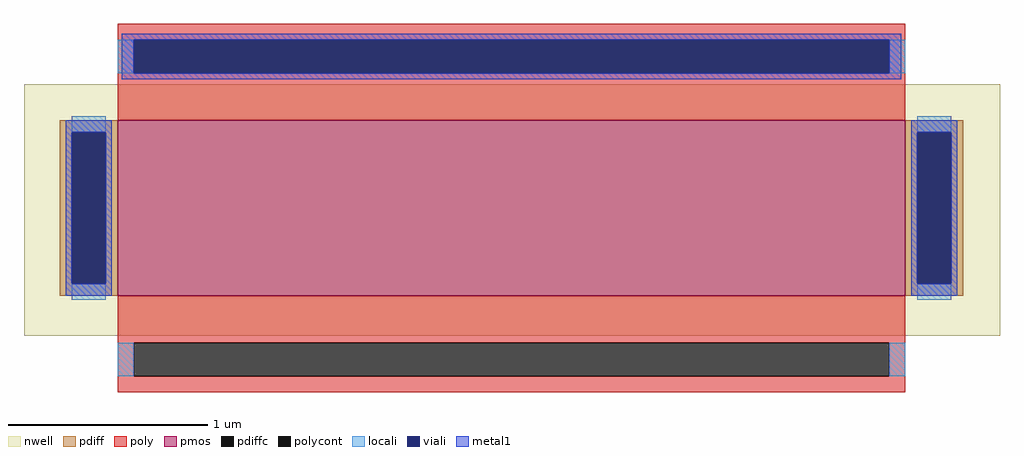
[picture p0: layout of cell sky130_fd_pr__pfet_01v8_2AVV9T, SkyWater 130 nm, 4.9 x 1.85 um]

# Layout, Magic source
magic
tech sky130A
magscale 1 2
<< nwell >>
rect -489 -128 490 124
<< pmos >>
rect -395 -88 395 88
<< pdiff >>
rect -453 76 -395 88
rect -453 -76 -441 76
rect -407 -76 -395 76
rect -453 -88 -395 -76
rect 395 76 453 88
rect 395 -76 407 76
rect 441 -76 453 76
rect 395 -88 453 -76
<< pdiffc >>
rect -441 -76 -407 76
rect 407 -76 441 76
<< poly >>
rect -395 169 395 185
rect -395 135 -379 169
rect 379 135 395 169
rect -395 88 395 135
rect -395 -135 395 -88
rect -395 -169 -379 -135
rect 379 -169 395 -135
rect -395 -185 395 -169
<< polycont >>
rect -379 135 379 169
rect -379 -169 379 -135
<< locali >>
rect -395 135 -379 169
rect 379 135 395 169
rect -441 76 -407 92
rect -441 -92 -407 -76
rect 407 76 441 92
rect 407 -92 441 -76
rect -395 -169 -379 -135
rect 379 -169 395 -135
<< viali >>
rect -379 135 379 169
rect -441 -76 -407 76
rect 407 -76 441 76
<< metal1 >>
rect -391 169 391 175
rect -391 135 -379 169
rect 379 135 391 169
rect -391 129 391 135
rect -447 76 -401 88
rect -447 -76 -441 76
rect -407 -76 -401 76
rect -447 -88 -401 -76
rect 401 76 447 88
rect 401 -76 407 76
rect 441 -76 447 76
rect 401 -88 447 -76
<< properties >>
string FIXED_BBOX -538 -254 538 254
string gencell sky130_fd_pr__pfet_01v8
string library sky130
string parameters w 0.875 l 3.95 m 1 nf 1 diffcov 100 polycov 100 guard 1 glc 1 grc 1 gtc 1 gbc 1 tbcov 100 rlcov 100 topc 1 botc 1 poverlap 0 doverlap 1 lmin 0.15 wmin 0.42 compatible {sky130_fd_pr__pfet_01v8  sky130_fd_pr__pfet_01v8_lvt sky130_fd_pr__pfet_01v8_hvt  sky130_fd_pr__pfet_g5v0d10v5} full_metal 1 viasrc 100 viadrn 100 viagate 100 viagb 0 viagr 0 viagl 0 viagt 0
<< end >>
